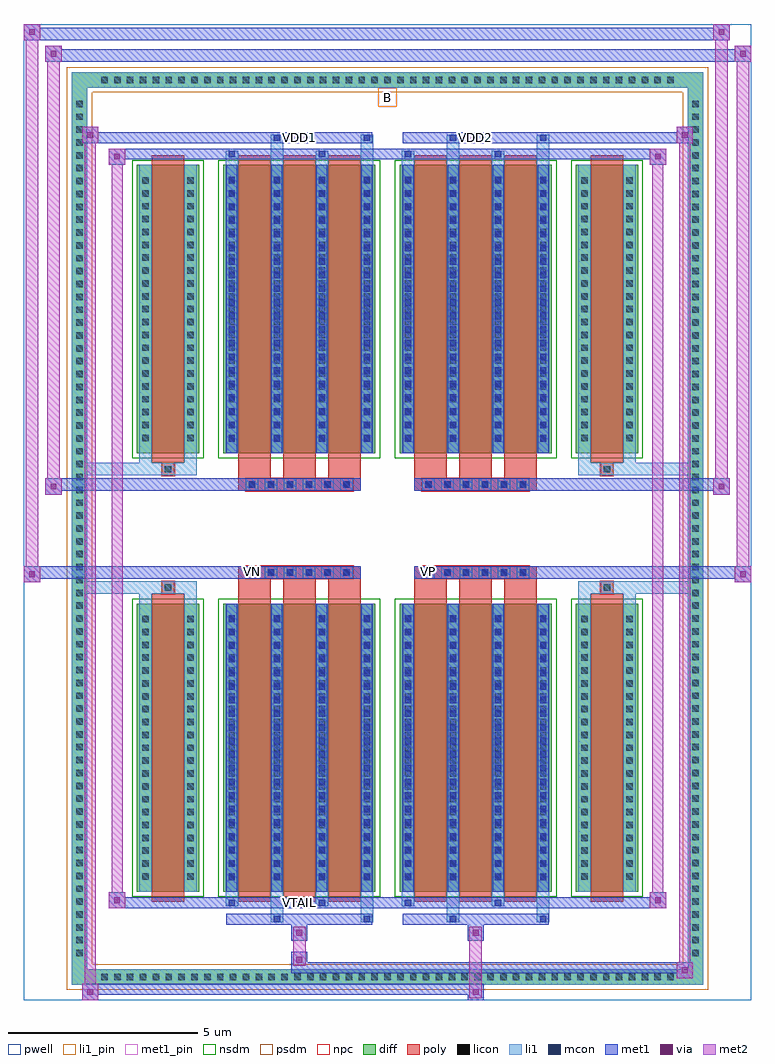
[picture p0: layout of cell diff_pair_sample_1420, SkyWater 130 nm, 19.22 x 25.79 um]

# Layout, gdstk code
import gdstk
lib = gdstk.Library(unit=1e-6, precision=5e-09)
def R(c, l, rs):  # rectangles x0, y0, x1, y1
    for r in rs: c.add(gdstk.rectangle(r[:2], r[2:], *l))
def A(c, l, x, y, w, h, nx, ny, dx, dy):  # array of equal rectangles
    R(c, l, [(x+i*dx, y+j*dy, x+i*dx+w, y+j*dy+h) for i in range(nx) for j in range(ny)])
def P(c, l, *ps):  # polygons
    for p in ps: c.add(gdstk.Polygon(p, *l))
pwell = (64, 44)
diff = (65, 20)
poly = (66, 20)
licon = (66, 44)
li1_pin = (67, 16)
li1 = (67, 20)
mcon = (67, 44)
met1_pin = (68, 16)
met1 = (68, 20)
via = (68, 44)
met2 = (69, 20)
nsdm = (93, 44)
psdm = (94, 20)
npc = (95, 20)

diff_pair_sample_1420 = lib.new_cell('diff_pair_sample_1420')
R(diff_pair_sample_1420, pwell, [(-9.61,-12.46,9.61,13.33), (-6.93,-10.65,-0.01,-0.795), (0.01,-10.65,6.93,-0.795), (-6.93,0.795,-0.01,10.65), (0.01,0.795,6.93,10.65)])
A(diff_pair_sample_1420, diff, -7.685, -12.06, 0.41, 0.41, 45, 2, 0.34, 23.71)
A(diff_pair_sample_1420, diff, -8.34, -11.425, 0.41, 0.41, 1, 67, 0, 0.34)
A(diff_pair_sample_1420, diff, 7.93, -11.425, 0.41, 0.41, 1, 67, 0, 0.34)
R(diff_pair_sample_1420, diff, [(-7.685,-12.06,7.685,-11.65), (-8.34,-11.425,-7.93,11.425), (7.93,-11.425,8.34,11.425), (-6.62,-9.605,-4.98,-1.985), (-4.34,-9.605,-0.32,-1.985), (0.32,-9.605,4.34,-1.985), (4.98,-9.605,6.62,-1.985), (-6.62,1.985,-4.98,9.605), (-4.34,1.985,-0.32,9.605), (0.32,1.985,4.34,9.605), (4.98,1.985,6.62,9.605), (-7.685,11.65,7.685,12.06)])
P(diff_pair_sample_1420, diff, [(8.34,12.06),(-8.34,12.06),(-8.34,-11.65),(-7.93,-11.65),(-7.93,11.65),(7.93,11.65),(7.93,-11.65),(-7.93,-11.65),(-8.34,-11.65),(-8.34,-12.06),(8.34,-12.06)])
A(diff_pair_sample_1420, poly, -3.95, -9.86, 0.86, 8.13, 3, 2, 1.19, 11.59)
A(diff_pair_sample_1420, poly, 0.71, -9.86, 0.86, 8.13, 3, 2, 1.19, 11.59)
A(diff_pair_sample_1420, poly, -3.95, -1.73, 0.86, 0.405, 3, 2, 1.19, 3.055)
A(diff_pair_sample_1420, poly, 0.71, -1.73, 0.86, 0.405, 3, 2, 1.19, 3.055)
A(diff_pair_sample_1420, poly, -3.745, -1.325, 0.33, 0.33, 6, 2, 0.5, 2.32)
A(diff_pair_sample_1420, poly, 0.915, -1.325, 0.33, 0.33, 6, 2, 0.5, 2.32)
R(diff_pair_sample_1420, poly, [(-6.23,-9.86,-5.37,-1.73), (5.37,-9.86,6.23,-1.73), (-5.965,-1.73,-5.635,-1.4), (-5.965,-1.73,-5.635,-1.4), (5.635,-1.73,5.965,-1.4), (5.635,-1.73,5.965,-1.4), (-3.95,-1.325,-0.71,-0.995), (0.71,-1.325,3.95,-0.995), (-3.95,0.995,-0.71,1.325), (0.71,0.995,3.95,1.325), (-5.965,1.4,-5.635,1.73), (-5.965,1.4,-5.635,1.73), (5.635,1.4,5.965,1.73), (5.635,1.4,5.965,1.73), (-6.23,1.73,-5.37,9.86), (5.37,1.73,6.23,9.86)])
A(diff_pair_sample_1420, licon, -7.565, -11.94, 0.17, 0.17, 45, 2, 0.34, 23.71)
A(diff_pair_sample_1420, licon, -8.22, -11.305, 0.17, 0.17, 1, 67, 0, 0.34)
A(diff_pair_sample_1420, licon, 8.05, -11.305, 0.17, 0.17, 1, 67, 0, 0.34)
A(diff_pair_sample_1420, licon, -6.48, -9.28, 0.17, 0.17, 1, 21, 0, 0.34)
A(diff_pair_sample_1420, licon, -5.29, -9.28, 0.17, 0.17, 1, 21, 0, 0.34)
A(diff_pair_sample_1420, licon, -4.2, -9.28, 0.17, 0.17, 4, 21, 1.19, 0.34)
A(diff_pair_sample_1420, licon, 0.46, -9.28, 0.17, 0.17, 4, 21, 1.19, 0.34)
A(diff_pair_sample_1420, licon, 5.12, -9.28, 0.17, 0.17, 1, 21, 0, 0.34)
A(diff_pair_sample_1420, licon, 6.31, -9.28, 0.17, 0.17, 1, 21, 0, 0.34)
A(diff_pair_sample_1420, licon, -3.665, -1.245, 0.17, 0.17, 6, 2, 0.5, 2.32)
A(diff_pair_sample_1420, licon, 0.995, -1.245, 0.17, 0.17, 6, 2, 0.5, 2.32)
A(diff_pair_sample_1420, licon, -6.48, 2.31, 0.17, 0.17, 1, 21, 0, 0.34)
A(diff_pair_sample_1420, licon, -5.29, 2.31, 0.17, 0.17, 1, 21, 0, 0.34)
A(diff_pair_sample_1420, licon, -4.2, 2.31, 0.17, 0.17, 4, 21, 1.19, 0.34)
A(diff_pair_sample_1420, licon, 0.46, 2.31, 0.17, 0.17, 4, 21, 1.19, 0.34)
A(diff_pair_sample_1420, licon, 5.12, 2.31, 0.17, 0.17, 1, 21, 0, 0.34)
A(diff_pair_sample_1420, licon, 6.31, 2.31, 0.17, 0.17, 1, 21, 0, 0.34)
R(diff_pair_sample_1420, licon, [(-5.885,-1.65,-5.715,-1.48), (5.715,-1.65,5.885,-1.48), (-5.885,1.48,-5.715,1.65), (5.715,1.48,5.885,1.65)])
R(diff_pair_sample_1420, li1_pin, [(-0.25,11.15,0.25,11.65)])
A(diff_pair_sample_1420, li1, -7.645, -12.02, 0.33, 0.33, 45, 2, 0.34, 23.71)
A(diff_pair_sample_1420, li1, -8.3, -11.385, 0.33, 0.33, 1, 67, 0, 0.34)
A(diff_pair_sample_1420, li1, 7.97, -11.385, 0.33, 0.33, 1, 67, 0, 0.34)
A(diff_pair_sample_1420, li1, -4.28, -9.605, 0.33, 7.62, 4, 2, 1.19, 11.59)
A(diff_pair_sample_1420, li1, 0.38, -9.605, 0.33, 7.62, 4, 2, 1.19, 11.59)
A(diff_pair_sample_1420, li1, -6.56, -9.36, 0.33, 0.33, 1, 21, 0, 0.34)
A(diff_pair_sample_1420, li1, -5.37, -9.36, 0.33, 0.33, 1, 21, 0, 0.34)
A(diff_pair_sample_1420, li1, -4.28, -9.36, 0.33, 0.33, 4, 21, 1.19, 0.34)
A(diff_pair_sample_1420, li1, 0.38, -9.36, 0.33, 0.33, 4, 21, 1.19, 0.34)
A(diff_pair_sample_1420, li1, 5.04, -9.36, 0.33, 0.33, 1, 21, 0, 0.34)
A(diff_pair_sample_1420, li1, 6.23, -9.36, 0.33, 0.33, 1, 21, 0, 0.34)
A(diff_pair_sample_1420, li1, -4.2, -9.3, 0.17, 0.17, 4, 20, 1.19, 0.36)
A(diff_pair_sample_1420, li1, -4.2, -9.3, 0.17, 7.01, 4, 2, 1.19, 11.59)
A(diff_pair_sample_1420, li1, 0.46, -9.3, 0.17, 0.17, 4, 20, 1.19, 0.36)
A(diff_pair_sample_1420, li1, 0.46, -9.3, 0.17, 7.01, 4, 2, 1.19, 11.59)
A(diff_pair_sample_1420, li1, -3.745, -1.325, 0.33, 0.33, 6, 2, 0.5, 2.32)
A(diff_pair_sample_1420, li1, 0.915, -1.325, 0.33, 0.33, 6, 2, 0.5, 2.32)
A(diff_pair_sample_1420, li1, -6.56, 2.23, 0.33, 0.33, 1, 21, 0, 0.34)
A(diff_pair_sample_1420, li1, -5.37, 2.23, 0.33, 0.33, 1, 21, 0, 0.34)
A(diff_pair_sample_1420, li1, -4.28, 2.23, 0.33, 0.33, 4, 21, 1.19, 0.34)
A(diff_pair_sample_1420, li1, 0.38, 2.23, 0.33, 0.33, 4, 21, 1.19, 0.34)
A(diff_pair_sample_1420, li1, 5.04, 2.23, 0.33, 0.33, 1, 21, 0, 0.34)
A(diff_pair_sample_1420, li1, 6.23, 2.23, 0.33, 0.33, 1, 21, 0, 0.34)
A(diff_pair_sample_1420, li1, -4.2, 2.29, 0.17, 0.17, 4, 20, 1.19, 0.36)
A(diff_pair_sample_1420, li1, 0.46, 2.29, 0.17, 0.17, 4, 20, 1.19, 0.36)
R(diff_pair_sample_1420, li1, [(-8.34,-12.06,-7.93,-11.65), (-8.34,-12.06,-7.93,-11.65), (-7.93,-12.06,7.93,-11.65), (7.93,-12.06,8.34,-11.65), (7.93,-12.06,8.34,-11.65), (-8.34,-11.65,-7.93,11.65), (7.93,-11.65,8.34,11.65), (-3.09,-10.41,-2.76,-9.605), (-3.01,-10.41,-2.84,-10.24), (-0.71,-10.41,-0.38,-9.605), (-0.63,-10.41,-0.46,-10.24), (1.57,-10.41,1.9,-9.605), (1.65,-10.41,1.82,-10.24), (3.95,-10.41,4.28,-9.605), (4.03,-10.41,4.2,-10.24), (-4.28,-9.98,-3.95,-9.605), (-4.2,-9.98,-4.03,-9.81), (-1.9,-9.98,-1.57,-9.605), (-1.82,-9.98,-1.65,-9.81), (0.38,-9.98,0.71,-9.605), (0.46,-9.98,0.63,-9.81), (2.76,-9.98,3.09,-9.605), (2.84,-9.98,3.01,-9.81), (-6.56,-9.605,-6.23,-1.985), (-5.37,-9.605,-5.04,-1.985), (5.04,-9.605,5.37,-1.985), (6.23,-9.605,6.56,-1.985), (-6.56,-1.985,-6.23,-1.4), (-5.37,-1.985,-5.04,-1.4), (5.04,-1.985,5.37,-1.4), (6.23,-1.985,6.56,-1.4), (-8.34,-1.73,-5.965,-1.4), (-6.56,-1.73,-5.965,-1.4), (-5.965,-1.73,-5.635,-1.4), (-5.635,-1.73,-5.04,-1.4), (5.04,-1.73,5.635,-1.4), (5.635,-1.73,5.965,-1.4), (5.635,-1.73,8.34,-1.4), (5.965,-1.73,6.56,-1.4), (-8.34,1.4,-5.965,1.73), (-6.56,1.4,-5.965,1.73), (-6.56,1.4,-6.23,1.985), (-5.965,1.4,-5.635,1.73), (-5.635,1.4,-5.04,1.73), (-5.37,1.4,-5.04,1.985), (5.04,1.4,5.635,1.73), (5.04,1.4,5.37,1.985), (5.635,1.4,5.965,1.73), (5.635,1.4,8.34,1.73), (5.965,1.4,6.56,1.73), (6.23,1.4,6.56,1.985), (-6.56,1.985,-6.23,9.605), (-5.37,1.985,-5.04,9.605), (5.04,1.985,5.37,9.605), (6.23,1.985,6.56,9.605), (-4.28,9.605,-3.95,9.98), (-3.09,9.605,-2.76,10.41), (-1.9,9.605,-1.57,9.98), (-0.71,9.605,-0.38,10.41), (0.38,9.605,0.71,9.98), (1.57,9.605,1.9,10.41), (2.76,9.605,3.09,9.98), (3.95,9.605,4.28,10.41), (-4.2,9.81,-4.03,9.98), (-1.82,9.81,-1.65,9.98), (0.46,9.81,0.63,9.98), (2.84,9.81,3.01,9.98), (-3.01,10.24,-2.84,10.41), (-0.63,10.24,-0.46,10.41), (1.65,10.24,1.82,10.41), (4.03,10.24,4.2,10.41), (-8.34,11.65,-7.93,12.06), (-8.34,11.65,-7.93,12.06), (-7.93,11.65,7.93,12.06), (7.93,11.65,8.34,12.06), (7.93,11.65,8.34,12.06)])
A(diff_pair_sample_1420, mcon, -4.2, -9.3, 0.17, 0.17, 4, 20, 1.19, 0.36)
A(diff_pair_sample_1420, mcon, 0.46, -9.3, 0.17, 0.17, 4, 20, 1.19, 0.36)
A(diff_pair_sample_1420, mcon, -3.665, -1.245, 0.17, 0.17, 6, 2, 0.5, 2.32)
A(diff_pair_sample_1420, mcon, 0.995, -1.245, 0.17, 0.17, 6, 2, 0.5, 2.32)
A(diff_pair_sample_1420, mcon, -4.2, 2.29, 0.17, 0.17, 4, 20, 1.19, 0.36)
A(diff_pair_sample_1420, mcon, 0.46, 2.29, 0.17, 0.17, 4, 20, 1.19, 0.36)
R(diff_pair_sample_1420, mcon, [(-3.01,-10.41,-2.84,-10.24), (-0.63,-10.41,-0.46,-10.24), (1.65,-10.41,1.82,-10.24), (4.03,-10.41,4.2,-10.24), (-4.2,-9.98,-4.03,-9.81), (-1.82,-9.98,-1.65,-9.81), (0.46,-9.98,0.63,-9.81), (2.84,-9.98,3.01,-9.81), (-4.2,9.81,-4.03,9.98), (-1.82,9.81,-1.65,9.98), (0.46,9.81,0.63,9.98), (2.84,9.81,3.01,9.98), (-3.01,10.24,-2.84,10.41), (-0.63,10.24,-0.46,10.41), (1.65,10.24,1.82,10.41), (4.03,10.24,4.2,10.41)])
R(diff_pair_sample_1420, met1_pin, [(-2.465,-10.02,-2.195,-9.75), (-3.715,-1.285,-3.445,-1.015), (0.945,-1.285,1.215,-1.015), (-2.465,10.2,-2.195,10.47), (2.195,10.2,2.465,10.47)])
A(diff_pair_sample_1420, met1, -4.26, -9.605, 0.29, 7.62, 4, 2, 1.19, 11.59)
A(diff_pair_sample_1420, met1, 0.4, -9.605, 0.29, 7.62, 4, 2, 1.19, 11.59)
A(diff_pair_sample_1420, met1, -4.26, -9.36, 0.29, 0.29, 4, 20, 1.19, 0.36)
A(diff_pair_sample_1420, met1, 0.4, -9.36, 0.29, 0.29, 4, 20, 1.19, 0.36)
A(diff_pair_sample_1420, met1, -3.725, -1.305, 0.29, 0.29, 6, 2, 0.5, 2.32)
A(diff_pair_sample_1420, met1, 0.935, -1.305, 0.29, 0.29, 6, 2, 0.5, 2.32)
A(diff_pair_sample_1420, met1, -4.26, 2.23, 0.29, 0.29, 4, 20, 1.19, 0.36)
A(diff_pair_sample_1420, met1, 0.4, 2.23, 0.29, 0.29, 4, 20, 1.19, 0.36)
R(diff_pair_sample_1420, met1, [(-8.07,-12.46,-7.64,-12.03), (2.115,-12.46,2.545,-12.03), (-8.07,-12.32,2.545,-12.03), (7.64,-11.89,8.07,-11.46), (-2.545,-11.75,8.07,-11.46), (-2.545,-11.61,-2.115,-11.18), (-2.545,-10.9,-2.115,-10.47), (2.115,-10.9,2.545,-10.47), (-4.26,-10.47,-0.4,-10.18), (-3.07,-10.47,-2.78,-10.18), (-0.69,-10.47,-0.4,-10.18), (0.4,-10.47,4.26,-10.18), (1.59,-10.47,1.88,-10.18), (3.97,-10.47,4.26,-10.18), (-7.36,-10.04,-6.93,-9.61), (-7.36,-10.04,-4.26,-9.75), (-4.26,-10.04,-3.97,-9.75), (-4.26,-10.04,-0.4,-9.75), (-1.88,-10.04,-1.59,-9.75), (-0.4,-10.04,0.4,-9.75), (0.4,-10.04,0.69,-9.75), (0.4,-10.04,4.26,-9.75), (2.78,-10.04,3.07,-9.75), (4.26,-10.04,7.36,-9.75), (6.93,-10.04,7.36,-9.61), (-9.61,-1.425,-9.18,-0.995), (9.18,-1.425,9.61,-0.995), (-9.61,-1.325,-0.71,-0.995), (-3.95,-1.325,-0.71,-0.995), (0.71,-1.325,3.95,-0.995), (0.71,-1.325,9.61,-0.995), (-9.04,0.895,-8.61,1.325), (8.61,0.895,9.04,1.325), (-9.04,0.995,-3.95,1.325), (-3.95,0.995,-0.71,1.325), (0.71,0.995,3.95,1.325), (3.95,0.995,9.04,1.325), (-7.36,9.61,-6.93,10.04), (6.93,9.61,7.36,10.04), (-7.36,9.75,-4.26,10.04), (-4.26,9.75,-3.97,10.04), (-4.26,9.75,-0.4,10.04), (-1.88,9.75,-1.59,10.04), (-0.4,9.75,0.4,10.04), (0.4,9.75,0.69,10.04), (0.4,9.75,4.26,10.04), (2.78,9.75,3.07,10.04), (4.26,9.75,7.36,10.04), (-8.07,10.18,-7.64,10.61), (-8.07,10.18,-4.26,10.47), (-4.26,10.18,-0.4,10.47), (-3.07,10.18,-2.78,10.47), (-0.69,10.18,-0.4,10.47), (0.4,10.18,4.26,10.47), (1.59,10.18,1.88,10.47), (3.97,10.18,4.26,10.47), (4.26,10.18,8.07,10.47), (7.64,10.18,8.07,10.61), (-9.04,12.33,-8.61,12.76), (-9.04,12.33,-6.93,12.66), (-6.93,12.33,6.93,12.66), (6.93,12.33,9.61,12.66), (9.18,12.33,9.61,12.76), (-9.61,12.9,-9.18,13.33), (-9.61,12.9,-6.93,13.23), (-6.93,12.9,6.93,13.23), (6.93,12.9,9.04,13.23), (8.61,12.9,9.04,13.33)])
R(diff_pair_sample_1420, via, [(-7.93,-12.32,-7.78,-12.17), (2.255,-12.32,2.405,-12.17), (7.78,-11.75,7.93,-11.6), (-2.405,-11.47,-2.255,-11.32), (-2.405,-10.76,-2.255,-10.61), (2.255,-10.76,2.405,-10.61), (-7.22,-9.9,-7.07,-9.75), (7.07,-9.9,7.22,-9.75), (-9.47,-1.285,-9.32,-1.135), (9.32,-1.285,9.47,-1.135), (-8.9,1.035,-8.75,1.185), (8.75,1.035,8.9,1.185), (-7.22,9.75,-7.07,9.9), (7.07,9.75,7.22,9.9), (-7.93,10.32,-7.78,10.47), (7.78,10.32,7.93,10.47), (-8.9,12.47,-8.75,12.62), (9.32,12.47,9.47,12.62), (-9.47,13.04,-9.32,13.19), (8.75,13.04,8.9,13.19)])
R(diff_pair_sample_1420, met2, [(-8.07,-12.46,-7.64,-12.03), (-8,-12.46,-7.71,10.61), (-7.71,-12.46,-7.64,-12.03), (-8.02,-12.41,-7.69,-12.08), (2.165,-12.41,2.495,-12.08), (2.165,-12.08,2.495,-10.85), (7.64,-11.89,8.07,-11.46), (7.71,-11.89,8,10.61), (8,-11.89,8.07,-11.46), (7.69,-11.84,8.02,-11.51), (-2.495,-11.56,-2.165,-11.23), (-2.495,-11.23,-2.165,-10.85), (-2.495,-10.85,-2.165,-10.52), (2.165,-10.85,2.495,-10.52), (-7.36,-10.04,-6.93,-9.61), (-7.29,-10.04,-7,10.04), (-7,-10.04,-6.93,-9.61), (6.93,-10.04,7.36,-9.61), (7,-10.04,7.29,10.04), (7.29,-10.04,7.36,-9.61), (-7.31,-9.99,-6.98,-9.66), (6.98,-9.99,7.31,-9.66), (-9.61,-1.425,-9.18,-0.995), (-9.56,-1.425,-9.23,13.33), (-9.23,-1.425,-9.18,-0.995), (9.18,-1.425,9.61,-0.995), (9.23,-1.425,9.56,12.76), (9.56,-1.425,9.61,-0.995), (-9.56,-1.375,-9.23,-1.045), (9.23,-1.375,9.56,-1.045), (-9.04,0.895,-8.61,1.325), (-8.99,0.895,-8.66,12.76), (-8.66,0.895,-8.61,1.325), (8.61,0.895,9.04,1.325), (8.66,0.895,8.99,13.33), (8.99,0.895,9.04,1.325), (-8.99,0.945,-8.66,1.275), (8.66,0.945,8.99,1.275), (-7.36,9.61,-6.93,10.04), (-7,9.61,-6.93,10.04), (6.93,9.61,7.36,10.04), (7.29,9.61,7.36,10.04), (-7.31,9.66,-6.98,9.99), (6.98,9.66,7.31,9.99), (-8.07,10.18,-7.64,10.61), (-7.71,10.18,-7.64,10.61), (7.64,10.18,8.07,10.61), (8,10.18,8.07,10.61), (-8.02,10.23,-7.69,10.56), (7.69,10.23,8.02,10.56), (-9.04,12.33,-8.61,12.76), (-8.66,12.33,-8.61,12.76), (9.18,12.33,9.61,12.76), (9.56,12.33,9.61,12.76), (-8.99,12.38,-8.66,12.71), (9.23,12.38,9.56,12.71), (-9.61,12.9,-9.18,13.33), (-9.23,12.9,-9.18,13.33), (8.61,12.9,9.04,13.33), (8.99,12.9,9.04,13.33), (-9.56,12.95,-9.23,13.28), (8.66,12.95,8.99,13.28)])
R(diff_pair_sample_1420, nsdm, [(-6.75,-9.735,-4.85,-1.855), (-4.47,-9.735,-0.19,-1.855), (0.19,-9.735,4.47,-1.855), (4.85,-9.735,6.75,-1.855), (-6.75,1.855,-4.85,9.735), (-4.47,1.855,-0.19,9.735), (0.19,1.855,4.47,9.735), (4.85,1.855,6.75,9.735)])
P(diff_pair_sample_1420, psdm, [(8.47,12.19),(-8.47,12.19),(-8.47,-11.52),(-7.8,-11.52),(-7.8,11.52),(7.8,11.52),(7.8,-11.52),(-7.8,-11.52),(-8.47,-11.52),(-8.47,-12.19),(8.47,-12.19)])
A(diff_pair_sample_1420, npc, -3.765, -1.345, 0.37, 0.37, 6, 2, 0.5, 2.32)
A(diff_pair_sample_1420, npc, 0.895, -1.345, 0.37, 0.37, 6, 2, 0.5, 2.32)
R(diff_pair_sample_1420, npc, [(-5.985,-1.75,-5.615,-1.38), (5.615,-1.75,5.985,-1.38), (-3.765,-1.345,-2.895,-0.975), (-3.765,-1.345,-2.895,-0.975), (-3.265,-1.345,-2.395,-0.975), (-3.265,-1.345,-2.395,-0.975), (-2.765,-1.345,-1.895,-0.975), (-2.765,-1.345,-1.895,-0.975), (-2.265,-1.345,-1.395,-0.975), (-2.265,-1.345,-1.395,-0.975), (-1.765,-1.345,-0.895,-0.975), (-1.765,-1.345,-0.895,-0.975), (0.895,-1.345,1.765,-0.975), (0.895,-1.345,1.765,-0.975), (1.395,-1.345,2.265,-0.975), (1.395,-1.345,2.265,-0.975), (1.895,-1.345,2.765,-0.975), (1.895,-1.345,2.765,-0.975), (2.395,-1.345,3.265,-0.975), (2.395,-1.345,3.265,-0.975), (2.895,-1.345,3.765,-0.975), (2.895,-1.345,3.765,-0.975), (-3.765,0.975,-2.895,1.345), (-3.765,0.975,-2.895,1.345), (-3.265,0.975,-2.395,1.345), (-3.265,0.975,-2.395,1.345), (-2.765,0.975,-1.895,1.345), (-2.765,0.975,-1.895,1.345), (-2.265,0.975,-1.395,1.345), (-2.265,0.975,-1.395,1.345), (-1.765,0.975,-0.895,1.345), (-1.765,0.975,-0.895,1.345), (0.895,0.975,1.765,1.345), (0.895,0.975,1.765,1.345), (1.395,0.975,2.265,1.345), (1.395,0.975,2.265,1.345), (1.895,0.975,2.765,1.345), (1.895,0.975,2.765,1.345), (2.395,0.975,3.265,1.345), (2.395,0.975,3.265,1.345), (2.895,0.975,3.765,1.345), (2.895,0.975,3.765,1.345), (-5.985,1.38,-5.615,1.75), (5.615,1.38,5.985,1.75)])
diff_pair_sample_1420.add(gdstk.Label('VTAIL', (-2.33,-9.885), layer=68, texttype=5))
diff_pair_sample_1420.add(gdstk.Label('VN', (-3.58,-1.15), layer=68, texttype=5))
diff_pair_sample_1420.add(gdstk.Label('VP', (1.08,-1.15), layer=68, texttype=5))
diff_pair_sample_1420.add(gdstk.Label('B', (0,11.4), layer=67, texttype=5))
diff_pair_sample_1420.add(gdstk.Label('VDD2', (2.33,10.335), layer=68, texttype=5))
diff_pair_sample_1420.add(gdstk.Label('VDD1', (-2.33,10.335), layer=68, texttype=5))

lib.write_gds('diff_pair_sample_1420.gds')
